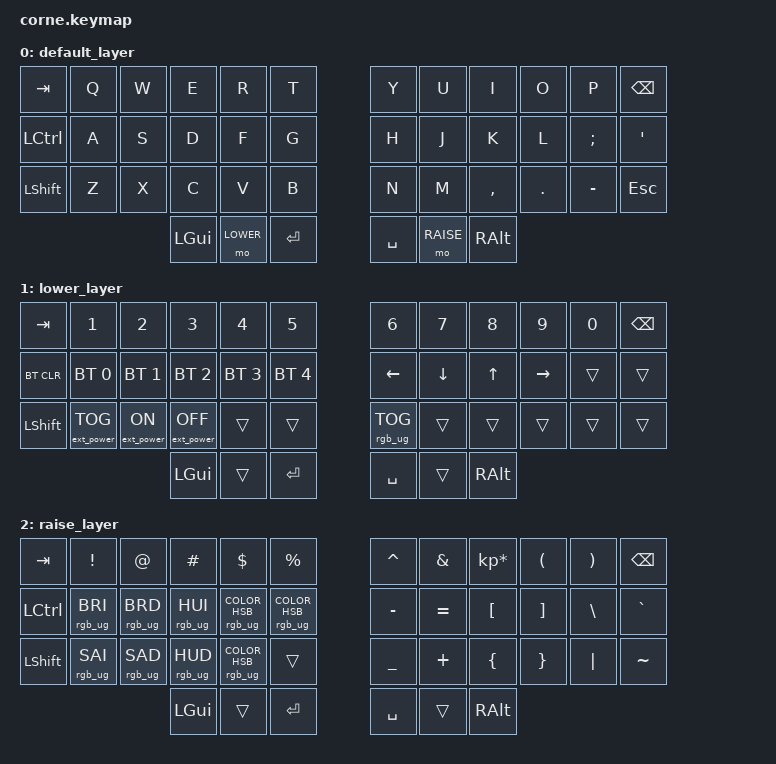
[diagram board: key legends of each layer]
/*
 * Copyright (c) 2020 The ZMK Contributors
 *
 * SPDX-License-Identifier: MIt
 */

#include <behaviors.dtsi>
#include <dt-bindings/zmk/keys.h>
#include <dt-bindings/zmk/bt.h>
#include <dt-bindings/zmk/ext_power.h>
#include <dt-bindings/zmk/rgb.h>

&led_strip {
    chain-length = <27>;
};

#define DEFAULT 0
#define LOWER   1
#define RAISE   2

/ {
        keymap {
                compatible = "zmk,keymap";

                default_layer {
// -----------------------------------------------------------------------------------------
// |  TAB |  Q  |  W  |  E  |  R  |  T  |   |  Z  |  U   |  I  |  O  |  P  | BKSP |
// | CTRL |  A  |  S  |  D  |  F  |  G  |   |  H  |  J   |  K  |  L  |  ;  |  '   |
// | SHFT |  Y  |  X  |  C  |  V  |  B  |   |  N  |  M   |  ,  |  .  |  -  | ESC  |
//                    | GUI | LWR | ENT |   | SPC | RSE  | ALT |
                        bindings = <
   &kp TAB   &kp Q &kp W &kp E &kp R &kp T   &kp Y &kp U  &kp I     &kp O   &kp P    &kp BSPC
   &kp LCTRL &kp A &kp S &kp D &kp F &kp G   &kp H &kp J  &kp K     &kp L   &kp SEMI &kp SQT
   &kp LSHFT &kp Z &kp X &kp C &kp V &kp B   &kp N &kp M  &kp COMMA &kp DOT &kp MINUS &kp ESC
                  &kp LGUI &mo LOWER   &kp RET   &kp SPACE &mo RAISE &kp RALT
                        >;
                };
                lower_layer {
// -----------------------------------------------------------------------------------------
// |  TAB |  1  |  2  |  3  |  4  |  5  |   |  6  |  7  |  8  |  9  |  0  | BKSP |
// | BTCLR| BT1 | BT2 | BT3 | BT4 | BT5 |   | LFT | DWN |  UP | RGT |     |      |
// | SHFT | EP_T | EP_ON  | EP_OFF |     |     | RGB_TOG  |     |     |     |     |     |      |
//                    | GUI |     | ENT |   | SPC |     | ALT |
                        bindings = <
   &kp TAB    &kp N1       &kp N2       &kp N3       &kp N4       &kp N5         &kp N6   &kp N7   &kp N8 &kp N9    &kp N0 &kp BSPC
   &bt BT_CLR &bt BT_SEL 0 &bt BT_SEL 1 &bt BT_SEL 2 &bt BT_SEL 3 &bt BT_SEL 4   &kp LEFT &kp DOWN &kp UP &kp RIGHT &trans &trans
   &kp LSHFT  &ext_power EP_TOG       &ext_power EP_ON       &ext_power EP_OFF       &trans       &trans         &rgb_ug RGB_TOG   &trans   &trans &trans    &trans &trans
                                    &kp LGUI     &trans       &kp RET      &kp SPACE  &trans   &kp RALT
                        >;
                };

                raise_layer {
// -----------------------------------------------------------------------------------------
// |  TAB |  !  |  @  |  #  |  $  |  %  |   |  ^  |  &  |  *  |  (  |  )  | BKSP |
// | CTRL |     |     |     |     |     |   |  -  |  =  |  [  |  ]  |  \  |  `   |
// | SHFT |     |     |     |     |     |   |  _  |  +  |  {  |  }  | "|" |  ~   |
//                    | GUI |     | ENT |   | SPC |     | ALT |
                        bindings = <
   &kp  TAB  &kp EXCL &kp AT &kp HASH &kp DLLR &kp PRCNT   &kp CARET &kp AMPS  &kp KP_MULTIPLY &kp LPAR &kp RPAR &kp BSPC
   &kp LCTRL &rgb_ug RGB_BRI   &rgb_ug RGB_BRD &rgb_ug RGB_HUI   &rgb_ug RGB_COLOR_HSB(25,100,0)  &rgb_ug RGB_COLOR_HSB(25,0,100)        &kp MINUS &kp EQUAL &kp LBKT        &kp RBKT &kp BSLH &kp GRAVE
   &kp LSHFT &rgb_ug RGB_SAI   &rgb_ug RGB_SAD &rgb_ug RGB_HUD   &rgb_ug RGB_COLOR_HSB(25,100,80)   &trans      &kp UNDER &kp PLUS  &kp LBRC        &kp RBRC &kp PIPE &kp TILDE
                             &kp LGUI &trans   &kp RET   &kp SPACE   &trans    &kp RALT
                        >;
                };
        };
};
